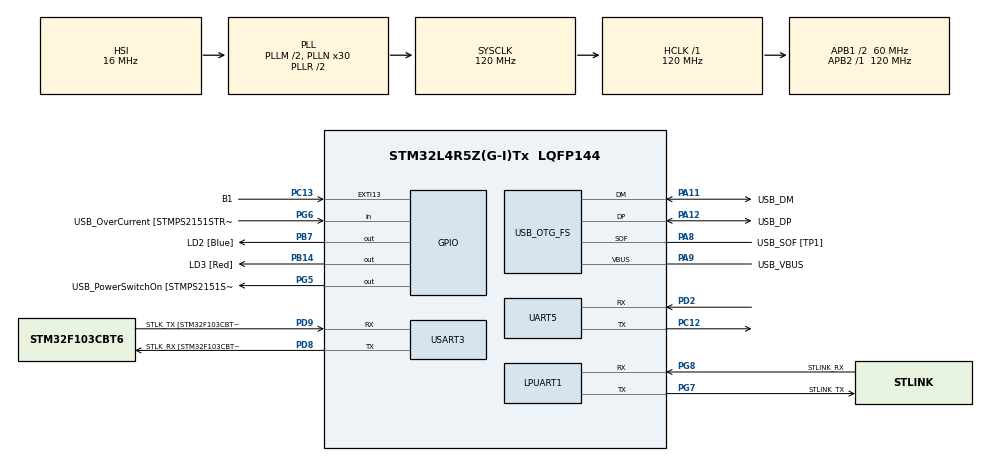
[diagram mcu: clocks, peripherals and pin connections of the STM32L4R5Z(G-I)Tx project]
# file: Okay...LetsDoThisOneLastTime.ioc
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LPUART1.WordLength=UART_WORDLENGTH_8B
Mcu.Family=STM32L4
Mcu.Name=STM32L4R5Z(G-I)Tx
Mcu.Package=LQFP144
NVIC.PriorityGroup=NVIC_PRIORITYGROUP_4
PA10.GPIO_Label=USB_ID
PA10.Signal=USB_OTG_FS_ID
PA11.GPIO_Label=USB_DM
PA11.Mode=Device_Only
PA11.Signal=USB_OTG_FS_DM
PA12.GPIO_Label=USB_DP
PA12.Mode=Device_Only
PA12.Signal=USB_OTG_FS_DP
PA13\ (JTMS/SWDIO).GPIO_Label=TMS
PA13\ (JTMS/SWDIO).Mode=Trace_Asynchronous_SW
PA13\ (JTMS/SWDIO).Signal=SYS_JTMS-SWDIO
PA14\ (JTCK/SWCLK).GPIO_Label=TCK
PA14\ (JTCK/SWCLK).Mode=Trace_Asynchronous_SW
PA14\ (JTCK/SWCLK).Signal=SYS_JTCK-SWCLK
PA8.GPIO_Label=USB_SOF [TP1]
PA8.Mode=Activate_SOF_FS
PA8.Signal=USB_OTG_FS_SOF
PA9.GPIO_Label=USB_VBUS
PA9.Mode=Activate_VBUS
PA9.Signal=USB_OTG_FS_VBUS
PB14.GPIO_Label=LD3 [Red]
PB14.Signal=GPIO_Output
PB3\ (JTDO/TRACESWO).GPIO_Label=SWO
PB3\ (JTDO/TRACESWO).Mode=Trace_Asynchronous_SW
PB3\ (JTDO/TRACESWO).Signal=SYS_JTDO-SWO
PB7.GPIO_Label=LD2 [Blue]
PB7.Signal=GPIO_Output
PC12.Mode=Asynchronous
PC12.Signal=UART5_TX
PC13.GPIO_Label=B1
PC13.Signal=GPXTI13
PC14-OSC32_IN\ (PC14).Mode=LSE-External-Oscillator
PC14-OSC32_IN\ (PC14).Signal=RCC_OSC32_IN
PC15-OSC32_OUT\ (PC15).Mode=LSE-External-Oscillator
PC15-OSC32_OUT\ (PC15).Signal=RCC_OSC32_OUT
PD2.Mode=Asynchronous
PD2.Signal=UART5_RX
PD8.GPIO_Label=STLK_RX [STM32F103CBT6_PA3]
PD8.Mode=Asynchronous
PD8.Signal=USART3_TX
PD9.GPIO_Label=STLK_TX [STM32F103CBT6_PA2]
PD9.Mode=Asynchronous
PD9.Signal=USART3_RX
PG5.GPIO_Label=USB_PowerSwitchOn [STMPS2151STR_EN]
PG5.Signal=GPIO_Output
PG6.GPIO_Label=USB_OverCurrent [STMPS2151STR_FAULT]
PG6.Signal=GPIO_Input
PG7.GPIO_Label=STLINK_TX
PG7.Mode=Asynchronous
PG7.Signal=LPUART1_TX
PG8.GPIO_Label=STLINK_RX
PG8.Mode=Asynchronous
PG8.Signal=LPUART1_RX
PH0-OSC_IN\ (PH0).Signal=RCC_OSC_IN
PH1-OSC_OUT\ (PH1).Signal=RCC_OSC_OUT
ProjectManager.HeapSize=0x200
ProjectManager.StackSize=0x400
ProjectManager.TargetToolchain=STM32CubeIDE
RCC.48MHZClocksFreq_Value=24000000
RCC.ADCFreq_Value=96000000
RCC.AHBFreq_Value=120000000
RCC.APB1CLKDivider=RCC_HCLK_DIV2
RCC.APB1Freq_Value=60000000
RCC.APB1TimFreq_Value=120000000
RCC.APB2Freq_Value=120000000
RCC.APB2TimFreq_Value=120000000
RCC.CK48CLockSelection=RCC_USBCLKSOURCE_HSI48
RCC.CortexFreq_Value=120000000
RCC.HCLKFreq_Value=120000000
RCC.HSE_VALUE=8000000
RCC.HSI48_VALUE=48000000
RCC.HSI_VALUE=16000000
RCC.MSI_VALUE=4000000
RCC.PLLM1=2
RCC.PLLMUL=RCC_PLL_MUL9
RCC.PLLN=30
RCC.PLLSAI1N=12
RCC.PLLSourceVirtual=RCC_PLLSOURCE_HSI
RCC.PRESCALERUSB=RCC_USBCLKSOURCE_PLL_DIV1_5
RCC.SYSCLKFreq_VALUE=120000000
RCC.SYSCLKSource=RCC_SYSCLKSOURCE_PLLCLK
RCC.SYSCLKSourceVirtual=RCC_SYSCLKSOURCE_PLLCLK
RCC.USBFreq_Value=48000000
RCC.VCOOutputFreq_Value=240000000
USART3.VirtualMode-Asynchronous=VM_ASYNC
USB_OTG_FS.VirtualMode=Device_Only
board=NUCLEO-L4R5ZI

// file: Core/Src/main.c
/* USER CODE BEGIN Header */
/**
  ******************************************************************************
  * @file           : main.c
  * @brief          : Main program body
  ******************************************************************************
  * @attention
  *
  * Copyright (c) 2022 STMicroelectronics.
  * All rights reserved.
  *
  * This software is licensed under terms that can be found in the LICENSE file
  * in the root directory of this software component.
  * If no LICENSE file comes with this software, it is provided AS-IS.
  *
  ******************************************************************************
  */
/* USER CODE END Header */
#include "main.h"
#include <string.h>
#include <stdbool.h>

UART_HandleTypeDef hlpuart1;
UART_HandleTypeDef huart5;
UART_HandleTypeDef huart3;

PCD_HandleTypeDef hpcd_USB_OTG_FS;

void SystemClock_Config(void);
static void MX_GPIO_Init(void);
static void MX_LPUART1_UART_Init(void);
static void MX_USART3_UART_Init(void);
static void MX_USB_OTG_FS_PCD_Init(void);
static void MX_UART5_Init(void);

int main(void)
{
  /* USER CODE BEGIN 1 */
	uint8_t UART1_rxBuffer[100] = {};
  /* USER CODE END 1 */

  /* MCU Configuration--------------------------------------------------------*/

  /* Reset of all peripherals, Initializes the Flash interface and the Systick. */
  HAL_Init();

  /* Configure the system clock */
  SystemClock_Config();

  /* Initialize all configured peripherals */
  MX_GPIO_Init();
  MX_LPUART1_UART_Init();
  MX_USART3_UART_Init();
  MX_USB_OTG_FS_PCD_Init();
  MX_UART5_Init();
  /* USER CODE BEGIN 2 */

  enum BitrateStatus{Change_Success, Wrong_input};

  /**
   * Transmits bitrate change telecommand depending on bitrate inputted
   * please use one of the following bitrates:
   * 				1200
   * 				2400
   * 				9600
   * 				19200
   * 				38400
   * 				57600
   * 				115200 (default bit-rate at boot)
   * 				230400
   * 				460800
   * 				921600
   */
  enum BitrateStatus Change_Bitrate(int bitrate){

  	switch(bitrate)
  	{
  	case 1200:
  		HAL_UART_Transmit(&hlpuart1, (uint8_t*)"0", 1, HAL_MAX_DELAY);
  		HAL_Delay(250);
  		return Change_Success;
  	case 2400:
  		HAL_UART_Transmit(&hlpuart1, (uint8_t*)"1", 1, HAL_MAX_DELAY);
  		HAL_Delay(250);
  		return Change_Success;
  	case 9600:
  		HAL_UART_Transmit(&hlpuart1, (uint8_t*)"2", 1, HAL_MAX_DELAY);
  		HAL_Delay(250);
  		return Change_Success;
  	case 19200:
  		HAL_UART_Transmit(&hlpuart1, (uint8_t*)"3", 1, HAL_MAX_DELAY);
  		HAL_Delay(250);
  		return Change_Success;
  	case 38400:
  		HAL_UART_Transmit(&hlpuart1, (uint8_t*)"4", 1, HAL_MAX_DELAY);
  		HAL_Delay(250);
  		return Change_Success;
  	case 57600:
  		HAL_UART_Transmit(&hlpuart1, (uint8_t*)"5", 1, HAL_MAX_DELAY);
  		HAL_Delay(250);
  		return Change_Success;
  	case 115200:
  		HAL_UART_Transmit(&hlpuart1, (uint8_t*)"6", 1, HAL_MAX_DELAY);
  		HAL_Delay(250);
  		return Change_Success;
  	case 230400:
  		HAL_UART_Transmit(&hlpuart1, (uint8_t*)"7", 1, HAL_MAX_DELAY);
  		HAL_Delay(250);
  		return Change_Success;
  	case 460800:
  		HAL_UART_Transmit(&hlpuart1, (uint8_t*)"8", 1, HAL_MAX_DELAY);
  		HAL_Delay(250);
  		return Change_Success;
  	case 921600:
  		HAL_UART_Transmit(&hlpuart1, (uint8_t*)"9", 1, HAL_MAX_DELAY);
  		HAL_Delay(250);
  		return Change_Success;
  	}
  	return Wrong_input;
  }

void receiveImage(){
	 // receive first sentence, get total number of sentences and send
		  char sentence[67];
		  // create group of 100 sentences
		  char group[100][67];
		  // create counter for number of sentences
		  int SentencesNum = 0;
		  // Declaration of enum for bool for loop
		  typedef enum { F, T } boolean;
		  boolean loop = T;
		  // initialize chars and ints for hex values
		  char hexTotal[6]
		  int totalSentences;

		  while(loop == T){
			  // get sentence
			  HAL_UART_Receive(&hlpuart1, (uint8_t*)sentence, 67, HAL_MAX_DELAY);
			  hexTotal[0] = '0';
			  hexTotal[1] = 'x';
			    strncpy(&hexTotal[2], &sentence[5], 4);
			    char *ptr;
				  	  totalSentences = (int)strtol(hexTotal, &ptr, 0);

			  // add sentence to group at index SentenceNum(starts at 0 and increases by 1 every iteration)
			  strcpy(group[SentencesNum],sentence);
			  SentencesNum += 1;
			  //if SentencesNum becomes = to 100, write group to mem, and subtract 100 from totalSentences and make SentencesNum =0
			  if(SentencesNum == 100){
				  //memWrite(CAMERA_DATA, group, ((sentencesNum)*67));
				  totalSentences -= 100;
				  SentencesNum = 0;
				  // re initialize group to empty it
				  char group[100][67];
			  }

			  // if totalSentences becomes less than 100 then break out of loop and use for loop to get the remaining sentences
			  if(totalSentences < 100){
				  loop = F;
			  }
		  }

		  // if totalSetences is less than 100, add the rest to group and write to mem
		  	  if(totalSentences < 100){
		  		  for(int i=0; i<totalSentences; i++){
		  			// get sentence
		  			HAL_UART_Receive(&hlpuart1, (uint8_t*)sentence, 67, HAL_MAX_DELAY);
		  			// add to group
		  			strcpy(group[i],sentence);
		  			SentencesNum += 1;
		  		  }
		  		  // once all are added then write group to mem
		  		//memWrite(CAMERA_DATA, group, ((sentencesNum)*67));
		  	  }

		  // receive final telemetry sentence
		  	HAL_UART_Receive(&hlpuart1, (uint8_t*)sentence, 67, HAL_MAX_DELAY);
		  	//memWrite(CAMERA_DATA, group, 67);
}

 enum Capture_Status{Transmit_Success, Wrong_input};

  /**
   * Transmits ASCII telecommand based on input
   * @param lighting - lighting should be a *lower case* char
   * 			d - daylight ambient light
   * 			m - medium ambient light
   * 			n - night ambient light
   * 			s - solar sail contrast and light
   */
  enum Capture_Status Capture_Image(bool flash, char lighting){

	  switch(lighting){
	  case d:
		  if(flash){
			  HAL_UART_Transmit(&hlpuart1, (uint8_t*)"D", 1, HAL_MAX_DELAY);
			  HAL_Delay(25);
		  }
		  else{
			  HAL_UART_Transmit(&hlpuart1, (uint8_t*)"d", 1, HAL_MAX_DELAY);
			  HAL_Delay(25);
		  }
		  receiveImage();
		  return Transmit_Success;
	  case m:
	  		  if(flash){
	  			  HAL_UART_Transmit(&hlpuart1, (uint8_t*)"M", 1, HAL_MAX_DELAY);
	  			  HAL_Delay(25);
	  		  }
	  		  else{
	  			  HAL_UART_Transmit(&hlpuart1, (uint8_t*)"m", 1, HAL_MAX_DELAY);
	  			  HAL_Delay(25);
	  		  }
	  		receiveImage();
	  		return Transmit_Success;
	  case n:
	  		  if(flash){
	  			  HAL_UART_Transmit(&hlpuart1, (uint8_t*)"N", 1, HAL_MAX_DELAY);
	  			  HAL_Delay(25);
	  		  }
	  		  else{
	  			  HAL_UART_Transmit(&hlpuart1, (uint8_t*)"n", 1, HAL_MAX_DELAY);
	  			  HAL_Delay(25);
	  		  }
	  		receiveImage();
	  		return Transmit_Success;
	  case s:
	  		  if(flash){
	  			  HAL_UART_Transmit(&hlpuart1, (uint8_t*)"S", 1, HAL_MAX_DELAY);
	  			  HAL_Delay(25);
	  		  }
	  		  else{
	  			  HAL_UART_Transmit(&hlpuart1, (uint8_t*)"s", 1, HAL_MAX_DELAY);
	  			  HAL_Delay(25);
	  		  }
	  		  receiveImage();
	  		return Transmit_Success;
	  default:
		  return Wrong_input;
	  }

  }

    uint8_t noFT[3] = {3,1,8};
 // const char FT[] = "T";
 // const char *otter = "R";
 // static const char *camControl[] = {"d", "D", "m", "M","n","N","s","S","t","T", "1", "2", "3", "4", "5", "6"};

  Change_Bitrate(19200);

  char *hexstring = "0x03DE ";
  char *ptr;
  int hmm = (int)strtol(hexstring, &ptr, 0);
  uint8_t hexnum[] = {hmm};

  /* USER CODE END 2 */

  /* Infinite loop */
  /* USER CODE BEGIN WHILE */
  while (1)
  {

	  HAL_UART_Transmit(&hlpuart1, (uint8_t*)hexnum, 3, HAL_MAX_DELAY);
	  HAL_UART_Transmit(&hlpuart1, (uint8_t)"\n", 1, HAL_MAX_DELAY);
//	  if(strcmp(input, noFT) == 0){
//		  HAL_UART_Transmit(&hlpuart1, (uint8_t*)otter, strlen(otter), HAL_MAX_DELAY);
//	  }
//	  HAL_UART_Transmit(&hlpuart1, (uint8_t*)input, 1, HAL_MAX_DELAY);
//	  for(int i = 0; i < 10; i++){
//		  if(strcmp(input, camControl[i]) == 0){
//			  HAL_UART_Transmit(&hlpuart1, (uint8_t*)test, testsize, HAL_MAX_DELAY);
//		  }
//	  }
//	  for(int i = 10; i < 16; i++){
//		  if(strcmp(input, camControl[i]) == 0){
//		  			  HAL_UART_Transmit(&hlpuart1, (uint8_t*)output, size, HAL_MAX_DELAY);
//		  		  }
//	  }

	  	  //flash red led to indicate its running
	  	  	HAL_GPIO_TogglePin(GPIOB, GPIO_PIN_14);
	  	  	HAL_Delay(1000);
    /* USER CODE END WHILE */

  }
}

void SystemClock_Config(void)
{
  RCC_OscInitTypeDef RCC_OscInitStruct = {0};
  RCC_ClkInitTypeDef RCC_ClkInitStruct = {0};

  /** Configure the main internal regulator output voltage
  */
  if (HAL_PWREx_ControlVoltageScaling(PWR_REGULATOR_VOLTAGE_SCALE1_BOOST) != HAL_OK)
  {
    Error_Handler();
  }
  /** Initializes the RCC Oscillators according to the specified parameters
  * in the RCC_OscInitTypeDef structure.
  */
  RCC_OscInitStruct.OscillatorType = RCC_OSCILLATORTYPE_HSI48|RCC_OSCILLATORTYPE_HSI;
  RCC_OscInitStruct.HSIState = RCC_HSI_ON;
  RCC_OscInitStruct.HSI48State = RCC_HSI48_ON;
  RCC_OscInitStruct.HSICalibrationValue = RCC_HSICALIBRATION_DEFAULT;
  RCC_OscInitStruct.PLL.PLLState = RCC_PLL_ON;
  RCC_OscInitStruct.PLL.PLLSource = RCC_PLLSOURCE_HSI;
  RCC_OscInitStruct.PLL.PLLM = 2;
  RCC_OscInitStruct.PLL.PLLN = 30;
  RCC_OscInitStruct.PLL.PLLP = RCC_PLLP_DIV2;
  RCC_OscInitStruct.PLL.PLLQ = RCC_PLLQ_DIV2;
  RCC_OscInitStruct.PLL.PLLR = RCC_PLLR_DIV2;
  if (HAL_RCC_OscConfig(&RCC_OscInitStruct) != HAL_OK)
  {
    Error_Handler();
  }
  /** Initializes the CPU, AHB and APB buses clocks
  */
  RCC_ClkInitStruct.ClockType = RCC_CLOCKTYPE_HCLK|RCC_CLOCKTYPE_SYSCLK
                              |RCC_CLOCKTYPE_PCLK1|RCC_CLOCKTYPE_PCLK2;
  RCC_ClkInitStruct.SYSCLKSource = RCC_SYSCLKSOURCE_PLLCLK;
  RCC_ClkInitStruct.AHBCLKDivider = RCC_SYSCLK_DIV1;
  RCC_ClkInitStruct.APB1CLKDivider = RCC_HCLK_DIV2;
  RCC_ClkInitStruct.APB2CLKDivider = RCC_HCLK_DIV1;

  if (HAL_RCC_ClockConfig(&RCC_ClkInitStruct, FLASH_LATENCY_5) != HAL_OK)
  {
    Error_Handler();
  }
}

static void MX_LPUART1_UART_Init(void)
{

  hlpuart1.Instance = LPUART1;
  hlpuart1.Init.BaudRate = 209700;
  hlpuart1.Init.WordLength = UART_WORDLENGTH_8B;
  hlpuart1.Init.StopBits = UART_STOPBITS_1;
  hlpuart1.Init.Parity = UART_PARITY_NONE;
  hlpuart1.Init.Mode = UART_MODE_TX_RX;
  hlpuart1.Init.HwFlowCtl = UART_HWCONTROL_NONE;
  hlpuart1.Init.OneBitSampling = UART_ONE_BIT_SAMPLE_DISABLE;
  hlpuart1.Init.ClockPrescaler = UART_PRESCALER_DIV1;
  hlpuart1.AdvancedInit.AdvFeatureInit = UART_ADVFEATURE_NO_INIT;
  hlpuart1.FifoMode = UART_FIFOMODE_DISABLE;
  if (HAL_UART_Init(&hlpuart1) != HAL_OK)
  {
    Error_Handler();
  }
  if (HAL_UARTEx_SetTxFifoThreshold(&hlpuart1, UART_TXFIFO_THRESHOLD_1_8) != HAL_OK)
  {
    Error_Handler();
  }
  if (HAL_UARTEx_SetRxFifoThreshold(&hlpuart1, UART_RXFIFO_THRESHOLD_1_8) != HAL_OK)
  {
    Error_Handler();
  }
  if (HAL_UARTEx_DisableFifoMode(&hlpuart1) != HAL_OK)
  {
    Error_Handler();
  }

}

static void MX_UART5_Init(void)
{

  huart5.Instance = UART5;
  huart5.Init.BaudRate = 115200;
  huart5.Init.WordLength = UART_WORDLENGTH_8B;
  huart5.Init.StopBits = UART_STOPBITS_1;
  huart5.Init.Parity = UART_PARITY_NONE;
  huart5.Init.Mode = UART_MODE_TX_RX;
  huart5.Init.HwFlowCtl = UART_HWCONTROL_NONE;
  huart5.Init.OverSampling = UART_OVERSAMPLING_16;
  huart5.Init.OneBitSampling = UART_ONE_BIT_SAMPLE_DISABLE;
  huart5.Init.ClockPrescaler = UART_PRESCALER_DIV1;
  huart5.AdvancedInit.AdvFeatureInit = UART_ADVFEATURE_NO_INIT;
  if (HAL_UART_Init(&huart5) != HAL_OK)
  {
    Error_Handler();
  }
  if (HAL_UARTEx_SetTxFifoThreshold(&huart5, UART_TXFIFO_THRESHOLD_1_8) != HAL_OK)
  {
    Error_Handler();
  }
  if (HAL_UARTEx_SetRxFifoThreshold(&huart5, UART_RXFIFO_THRESHOLD_1_8) != HAL_OK)
  {
    Error_Handler();
  }
  if (HAL_UARTEx_DisableFifoMode(&huart5) != HAL_OK)
  {
    Error_Handler();
  }

}

static void MX_USART3_UART_Init(void)
{

  huart3.Instance = USART3;
  huart3.Init.BaudRate = 115200;
  huart3.Init.WordLength = UART_WORDLENGTH_8B;
  huart3.Init.StopBits = UART_STOPBITS_1;
  huart3.Init.Parity = UART_PARITY_NONE;
  huart3.Init.Mode = UART_MODE_TX_RX;
  huart3.Init.HwFlowCtl = UART_HWCONTROL_NONE;
  huart3.Init.OverSampling = UART_OVERSAMPLING_16;
  huart3.Init.OneBitSampling = UART_ONE_BIT_SAMPLE_DISABLE;
  huart3.Init.ClockPrescaler = UART_PRESCALER_DIV1;
  huart3.AdvancedInit.AdvFeatureInit = UART_ADVFEATURE_NO_INIT;
  if (HAL_UART_Init(&huart3) != HAL_OK)
  {
    Error_Handler();
  }
  if (HAL_UARTEx_SetTxFifoThreshold(&huart3, UART_TXFIFO_THRESHOLD_1_8) != HAL_OK)
  {
    Error_Handler();
  }
  if (HAL_UARTEx_SetRxFifoThreshold(&huart3, UART_RXFIFO_THRESHOLD_1_8) != HAL_OK)
  {
    Error_Handler();
  }
  if (HAL_UARTEx_DisableFifoMode(&huart3) != HAL_OK)
  {
    Error_Handler();
  }

}

static void MX_USB_OTG_FS_PCD_Init(void)
{

  hpcd_USB_OTG_FS.Instance = USB_OTG_FS;
  hpcd_USB_OTG_FS.Init.dev_endpoints = 6;
  hpcd_USB_OTG_FS.Init.phy_itface = PCD_PHY_EMBEDDED;
  hpcd_USB_OTG_FS.Init.Sof_enable = ENABLE;
  hpcd_USB_OTG_FS.Init.low_power_enable = DISABLE;
  hpcd_USB_OTG_FS.Init.lpm_enable = DISABLE;
  hpcd_USB_OTG_FS.Init.battery_charging_enable = ENABLE;
  hpcd_USB_OTG_FS.Init.use_dedicated_ep1 = DISABLE;
  hpcd_USB_OTG_FS.Init.vbus_sensing_enable = ENABLE;
  if (HAL_PCD_Init(&hpcd_USB_OTG_FS) != HAL_OK)
  {
    Error_Handler();
  }

}

static void MX_GPIO_Init(void)
{
  GPIO_InitTypeDef GPIO_InitStruct = {0};

  /* GPIO Ports Clock Enable */
  __HAL_RCC_GPIOC_CLK_ENABLE();
  __HAL_RCC_GPIOH_CLK_ENABLE();
  __HAL_RCC_GPIOB_CLK_ENABLE();
  __HAL_RCC_GPIOD_CLK_ENABLE();
  __HAL_RCC_GPIOG_CLK_ENABLE();
  HAL_PWREx_EnableVddIO2();
  __HAL_RCC_GPIOA_CLK_ENABLE();

  /*Configure GPIO pin Output Level */
  HAL_GPIO_WritePin(GPIOB, LD3_Pin|LD2_Pin, GPIO_PIN_RESET);

  /*Configure GPIO pin Output Level */
  HAL_GPIO_WritePin(USB_PowerSwitchOn_GPIO_Port, USB_PowerSwitchOn_Pin, GPIO_PIN_RESET);

  /*Configure GPIO pin : B1_Pin */
  GPIO_InitStruct.Pin = B1_Pin;
  GPIO_InitStruct.Mode = GPIO_MODE_IT_RISING;
  GPIO_InitStruct.Pull = GPIO_NOPULL;
  HAL_GPIO_Init(B1_GPIO_Port, &GPIO_InitStruct);

  /*Configure GPIO pins : LD3_Pin LD2_Pin */
  GPIO_InitStruct.Pin = LD3_Pin|LD2_Pin;
  GPIO_InitStruct.Mode = GPIO_MODE_OUTPUT_PP;
  GPIO_InitStruct.Pull = GPIO_NOPULL;
  GPIO_InitStruct.Speed = GPIO_SPEED_FREQ_LOW;
  HAL_GPIO_Init(GPIOB, &GPIO_InitStruct);

  /*Configure GPIO pin : USB_PowerSwitchOn_Pin */
  GPIO_InitStruct.Pin = USB_PowerSwitchOn_Pin;
  GPIO_InitStruct.Mode = GPIO_MODE_OUTPUT_PP;
  GPIO_InitStruct.Pull = GPIO_NOPULL;
  GPIO_InitStruct.Speed = GPIO_SPEED_FREQ_LOW;
  HAL_GPIO_Init(USB_PowerSwitchOn_GPIO_Port, &GPIO_InitStruct);

  /*Configure GPIO pin : USB_OverCurrent_Pin */
  GPIO_InitStruct.Pin = USB_OverCurrent_Pin;
  GPIO_InitStruct.Mode = GPIO_MODE_INPUT;
  GPIO_InitStruct.Pull = GPIO_NOPULL;
  HAL_GPIO_Init(USB_OverCurrent_GPIO_Port, &GPIO_InitStruct);

}

void Error_Handler(void)
{
  __disable_irq();
  while (1)
  {
  }
}
